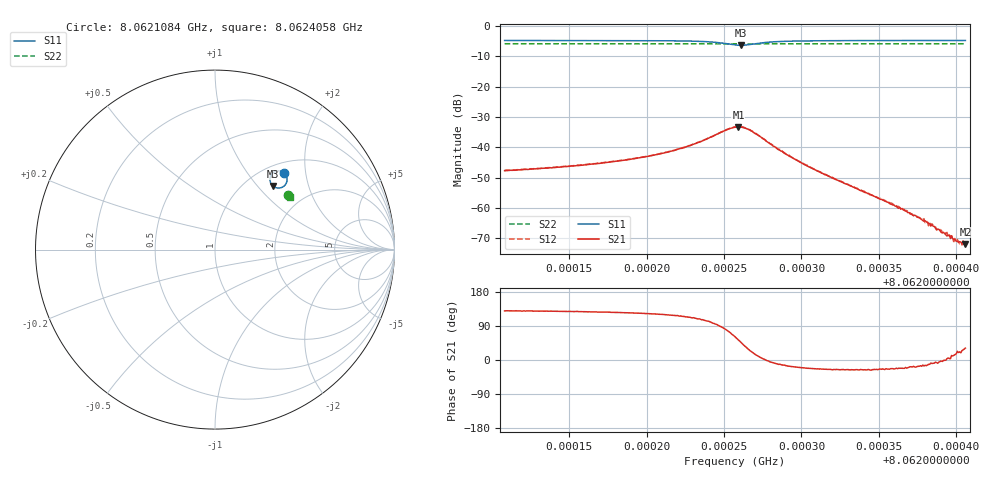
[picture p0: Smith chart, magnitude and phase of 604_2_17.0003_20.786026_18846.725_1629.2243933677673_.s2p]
#  HZ  S  RI  R  50.00
! Rohde & Schwarz Vector Network Analyzer
! Rohde-Schwarz,ZNB20-2Port,1311601062101988,3.16
! Created: UTC 3/20/2024, 11:19:09 PM
! freq[Hz]  re:S11  im:S11  re:S21  im:S21  re:S12  im:S12  re:S22  im:S22
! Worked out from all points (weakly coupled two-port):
!   401 points, 8.0621084 GHz to 8.0624058 GHz, reference 50 ohm
!   highest |S21| = -33.30 dB at 8.0622593 GHz (marker M1); lowest = -71.9 dB at 8.0624058 GHz (marker M2)
!   lowest |S11| = -6.4 dB at 8.0622608 GHz (marker M3), VSWR 2.84, Z = 65.7 + j60.6 ohm
!   |S11| at or under -10 dB: nowhere
!   |S22| runs from -6.0 to -5.9 dB; largest |S21 - S12| = 0.0013
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8.06210836e9  0.3846 0.4286  -0.00262 0.00316  -0.00245 0.00332  0.4067 0.3055
8.06215819e9  0.39 0.4225  -0.00308 0.004  -0.00284 0.00424  0.4085 0.3026
8.06218347e9  0.3937 0.4176  -0.00346 0.00492  -0.00318 0.00516  0.4094 0.3012
8.06220801e9  0.3982 0.4089  -0.00394 0.00665  -0.00355 0.00691  0.4102 0.2997
8.06222958e9  0.4017 0.3919  -0.00401 0.0103  -0.00342 0.0105  0.411 0.2977
8.06224594e9  0.3911 0.3606  -0.000684 0.0166  0.000284 0.0166  0.4106 0.2958
8.0622571e9  0.3432 0.3441  0.0103 0.0187  0.0113 0.0184  0.4087 0.2951
8.06225933e9  0.3298 0.3495  0.0131 0.0172  0.0142 0.0167  0.4082 0.2955
8.06226082e9  0.3219 0.3551  0.0147 0.0158  0.0157 0.015  0.4079 0.2958
8.06226677e9  0.3062 0.3883  0.0174 0.00801  0.018 0.00716  0.4081 0.2973
8.06227792e9  0.3248 0.4284  0.0123 -0.000421  0.0125 -0.00115  0.4097 0.2982
8.06229057e9  0.3472 0.4378  0.00724 -0.00196  0.00725 -0.00243  0.4111 0.2978
8.06230693e9  0.3624 0.4377  0.00413 -0.00171  0.00407 -0.00199  0.4124 0.2966
8.06235675e9  0.3795 0.4314  0.00108 -0.000489  0.00108 -0.000596  0.4148 0.2936
8.0623746e9  0.3825 0.4294  0.000676 -0.00021  0.000676 -0.000259  0.4155 0.2927
8.06237758e9  0.383 0.4293  0.000616 -0.000183  0.000603 -0.00021  0.4154 0.2927
8.0623813e9  0.3834 0.429  0.000556 -0.000134  0.000557 -0.000206  0.4156 0.2924
8.06238427e9  0.3838 0.4287  0.000522 -8.53e-05  0.00053 -0.000126  0.4158 0.2922
8.06239691e9  0.3854 0.4274  0.000338 7.1e-05  0.000344 2.9e-05  0.4162 0.2916
8.06239989e9  0.3858 0.4272  0.000271 7.66e-05  0.000311 4.76e-05  0.4164 0.2912
8.06240361e9  0.3862 0.4271  0.000233 0.000107  0.000227 8.72e-05  0.4166 0.2912
8.06240584e9  0.3864 0.4269  0.000216 0.000132  0.000209 0.000105  0.4166 0.2911
